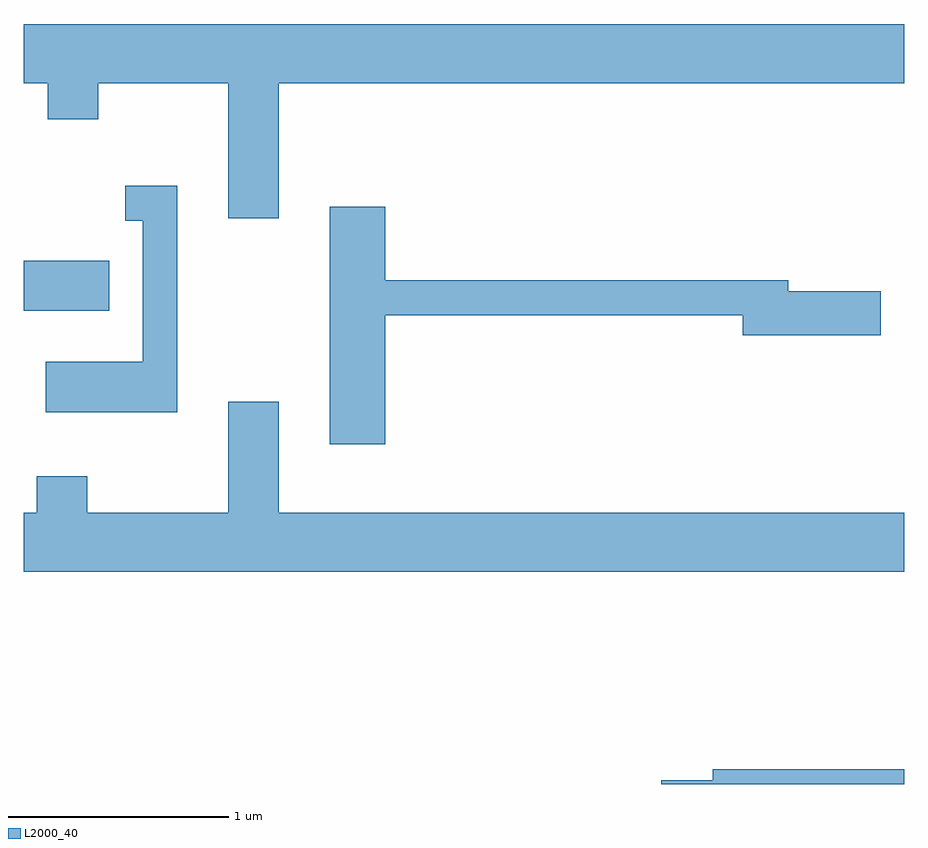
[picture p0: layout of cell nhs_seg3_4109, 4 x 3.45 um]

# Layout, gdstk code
import gdstk
lib = gdstk.Library(unit=1e-6, precision=1e-09)
def R(c, l, rs):  # rectangles x0, y0, x1, y1
    for r in rs: c.add(gdstk.rectangle(r[:2], r[2:], *l))
def P(c, l, *ps):  # polygons
    for p in ps: c.add(gdstk.Polygon(p, *l))
L2000_40 = (2000, 40)

nhs_seg3_4109 = lib.new_cell('nhs_seg3_4109')
R(nhs_seg3_4109, L2000_40, [(305.611,1176.041,305.999,1176.269)])
P(nhs_seg3_4109, L2000_40, [(306.769,1177.076),(309.611,1177.076),(309.611,1177.344),(305.611,1177.344),(305.611,1177.076),(305.721,1177.076),(305.721,1176.911),(305.949,1176.911),(305.949,1177.076),(306.541,1177.076),(306.541,1176.461),(306.769,1176.461)],
  [(306.309,1176.609),(306.073,1176.609),(306.073,1176.451),(306.151,1176.451),(306.151,1175.809),(305.711,1175.809),(305.711,1175.581),(306.309,1175.581)],
  [(307.254,1176.021),(308.876,1176.021),(308.876,1175.931),(309.504,1175.931),(309.504,1176.129),(309.084,1176.129),(309.084,1176.179),(307.254,1176.179),(307.254,1176.514),(307.001,1176.514),(307.001,1175.436),(307.254,1175.436)],
  [(309.611,1175.124),(306.769,1175.124),(306.769,1175.629),(306.541,1175.629),(306.541,1175.124),(305.899,1175.124),(305.899,1175.289),(305.671,1175.289),(305.671,1175.124),(305.611,1175.124),(305.611,1174.856),(309.611,1174.856)],
  [(309.611,1173.959),(308.741,1173.959),(308.741,1173.909),(308.506,1173.909),(308.506,1173.892),(309.611,1173.892)])

lib.write_gds('nhs_seg3_4109.gds')
